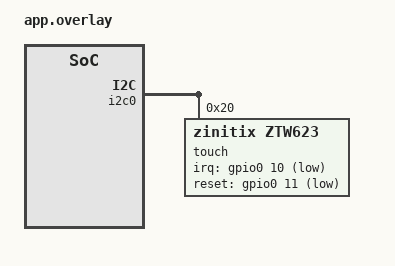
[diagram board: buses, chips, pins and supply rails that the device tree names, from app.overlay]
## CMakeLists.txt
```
# SPDX-FileCopyrightText: Copyright The Zephyr Project Contributors
# SPDX-License-Identifier: Apache-2.0

cmake_minimum_required(VERSION 3.20.0)
find_package(Zephyr REQUIRED HINTS $ENV{ZEPHYR_BASE})
project(ztw623)
target_sources(app PRIVATE src/main.c)
```

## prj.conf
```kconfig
# SPDX-FileCopyrightText: Copyright The Zephyr Project Contributors
# SPDX-License-Identifier: Apache-2.0

CONFIG_ZTEST=y
CONFIG_I2C=y
CONFIG_GPIO=y
CONFIG_EMUL=y
CONFIG_INPUT=y
CONFIG_INPUT_MODE_SYNCHRONOUS=y
```

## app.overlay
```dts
/*
 * SPDX-FileCopyrightText: Copyright The Zephyr Project Contributors
 * SPDX-License-Identifier: Apache-2.0
 */

#include <zephyr/dt-bindings/gpio/gpio.h>

&i2c0 {
	touch: touch@20 {
		compatible = "zinitix,ztw623";
		reg = <0x20>;
		irq-gpios = <&gpio0 10 GPIO_ACTIVE_LOW>;
		reset-gpios = <&gpio0 11 GPIO_ACTIVE_LOW>;
		screen-width = <212>;
		screen-height = <520>;
	};
};
```

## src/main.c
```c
/*
 * SPDX-FileCopyrightText: Copyright The Zephyr Project Contributors
 * SPDX-License-Identifier: Apache-2.0
 */

#include <string.h>
#include <zephyr/drivers/emul.h>
#include <zephyr/drivers/gpio/gpio_emul.h>
#include <zephyr/drivers/i2c_emul.h>
#include <zephyr/dt-bindings/input/ztw623-event-codes.h>
#include <zephyr/input/input.h>
#include <zephyr/sys/atomic.h>
#include <zephyr/sys/byteorder.h>
#include <zephyr/ztest.h>

#define TOUCH DT_NODELABEL(touch)
#define FLAGS_DOWN 0x03
#define FLAGS_MOVE 0x05
#define FLAGS_UP   0x08

static const struct gpio_dt_spec irq = GPIO_DT_SPEC_GET(TOUCH, irq_gpios);
static uint8_t point[10];
static bool boot_clear;
static atomic_t read_errors;
static atomic_t ack_error;
static atomic_t stuck_low;

K_MUTEX_DEFINE(model_lock);
K_SEM_DEFINE(restarted, 0, 1);
K_SEM_DEFINE(acknowledged, 0, 1);

struct touch_event {
	int32_t x;
	int32_t y;
	int32_t pressed;
	bool cancelled;
};

K_MSGQ_DEFINE(events, sizeof(struct touch_event), 4, sizeof(uint32_t));

static int model_read(uint16_t reg, struct i2c_msg *message)
{
	uint16_t value;

	if ((message->flags & I2C_MSG_READ) == 0) {
		return -EINVAL;
	}
	switch (reg) {
	case 0x0080:
		if (message->len != sizeof(point)) {
			return -EINVAL;
		}
		if (atomic_get(&read_errors) != 0) {
			atomic_dec(&read_errors);
			return -EIO;
		}
		k_mutex_lock(&model_lock, K_FOREVER);
		memcpy(message->buf, point, sizeof(point));
		k_mutex_unlock(&model_lock);
		return 0;
	case 0x09d2:
		if (message->len != 12) {
			return -EINVAL;
		}
		memset(message->buf, 0, message->len);
		sys_put_le16(0x5601, &message->buf[8]);
		sys_put_le16(0xe623, &message->buf[10]);
		return 0;
	case 0x0014:
		value = 0x5601;
		break;
	case 0x012c:
		value = 0x55aa;
		break;
	case 0xcc00:
		value = 0xe623;
		break;
	default:
		return -EIO;
	}
	if (message->len != 2) {
		return -EINVAL;
	}
	sys_put_le16(value, message->buf);
	return 0;
}

static int model_transfer(const struct emul *target, struct i2c_msg *msgs, int count, int address)
{
	uint16_t reg;

	ARG_UNUSED(target);
	if (address != 0x20 || count < 1 || msgs[0].len < 2 ||
	    (msgs[0].flags & I2C_MSG_READ) != 0) {
		return -EINVAL;
	}
	reg = sys_get_le16(msgs[0].buf);
	if (count == 2 && msgs[0].len == 2) {
		return model_read(reg, &msgs[1]);
	}
	if (count != 1) {
		return -EINVAL;
	}
	switch (reg) {
	case 0x0000:
		boot_clear = true;
		atomic_clear(&stuck_low);
		return 0;
	case 0x0003:
		if (atomic_set(&ack_error, 0) != 0) {
			return -EIO;
		}
		if (atomic_get(&stuck_low) == 0) {
			int ret = gpio_emul_input_set_dt(&irq, 1);

			if (ret != 0) {
				return ret;
			}
		}
		if (boot_clear) {
			boot_clear = false;
			k_sem_give(&restarted);
		} else {
			k_sem_give(&acknowledged);
		}
		return 0;
	case 0x0ff8:
	case 0xc000:
	case 0xc001:
	case 0xc002:
	case 0xc004:
		return 0;
	default:
		return -EIO;
	}
}

static int model_init(const struct emul *target, const struct device *parent)
{
	ARG_UNUSED(target);
	ARG_UNUSED(parent);
	return 0;
}

static const struct i2c_emul_api i2c_api = {
	.transfer = model_transfer,
};

EMUL_DT_DEFINE(TOUCH, model_init, NULL, NULL, &i2c_api, NULL);

static void record(struct input_event *event, void *user_data)
{
	static struct touch_event position;

	ARG_UNUSED(user_data);
	if (event->type == INPUT_EV_ABS && event->code == INPUT_ABS_X) {
		position.x = event->value;
	} else if (event->type == INPUT_EV_ABS && event->code == INPUT_ABS_Y) {
		position.y = event->value;
	} else if (event->type == INPUT_EV_DEVICE && event->code == INPUT_ZTW623_CANCEL) {
		position.cancelled = true;
	} else if (event->type == INPUT_EV_KEY && event->code == INPUT_BTN_TOUCH && event->sync) {
		position.pressed = event->value;
		zassert_ok(k_msgq_put(&events, &position, K_NO_WAIT));
		position.cancelled = false;
	}
}

INPUT_CALLBACK_DEFINE(DEVICE_DT_GET(TOUCH), record, NULL);

static void send_point(uint8_t flags, uint16_t x, uint16_t y)
{
	k_mutex_lock(&model_lock, K_FOREVER);
	sys_put_le16(x, &point[4]);
	sys_put_le16(y, &point[6]);
	point[9] = flags;
	k_mutex_unlock(&model_lock);
	zassert_ok(gpio_emul_input_set_dt(&irq, 0));
}

static void expect_point(int32_t pressed, int32_t x, int32_t y, bool cancelled)
{
	struct touch_event event;

	zassert_ok(k_msgq_get(&events, &event, K_SECONDS(1)));
	zassert_equal(event.pressed, pressed);
	zassert_equal(event.x, x);
	zassert_equal(event.y, y);
	zassert_equal(event.cancelled, cancelled);
}

ZTEST(ztw623, test_recovery_releases_and_waits_for_new_press)
{
	zassert_true(device_is_ready(DEVICE_DT_GET(TOUCH)));
	zassert_ok(k_sem_take(&restarted, K_NO_WAIT));
	for (unsigned int fault = 0; fault < 3; fault++) {
		send_point(FLAGS_DOWN, 12, 34);
		expect_point(1, 12, 34, false);

		k_sem_reset(&acknowledged);
		if (fault == 0) {
			atomic_set(&read_errors, 2);
		} else if (fault == 1) {
			atomic_set(&ack_error, 1);
		} else {
			atomic_set(&stuck_low, 1);
		}
		send_point(FLAGS_MOVE, 12, 34);
		if (fault == 2) {
			const int64_t deadline = k_uptime_get() + 1000;
			struct touch_event event;

			expect_point(1, 12, 34, false);
			/* The repeated sample has no movement or new edge. Consume its
			 * updates until the guard expires and the driver releases.
			 */
			do {
				const int64_t remaining = deadline - k_uptime_get();

				zassert_true(remaining > 0, "stuck INT did not release the touch");
				zassert_ok(k_msgq_get(&events, &event, K_MSEC(remaining)));
			} while (event.pressed != 0);
			zassert_true(event.cancelled);
		} else {
			expect_point(0, 12, 34, true);
		}
		zassert_ok(k_sem_take(&restarted, K_SECONDS(1)));

		k_sem_reset(&acknowledged);
		send_point(FLAGS_MOVE, 150, 400);
		zassert_ok(k_sem_take(&acknowledged, K_SECONDS(1)));
		struct touch_event event;

		zassert_not_equal(k_msgq_get(&events, &event, K_MSEC(40)), 0);
		send_point(FLAGS_DOWN, 185, 500);
		expect_point(1, 185, 500, false);
		send_point(FLAGS_UP, 185, 500);
		expect_point(0, 185, 500, false);
	}
}

ZTEST_SUITE(ztw623, NULL, NULL, NULL, NULL, NULL);
```
